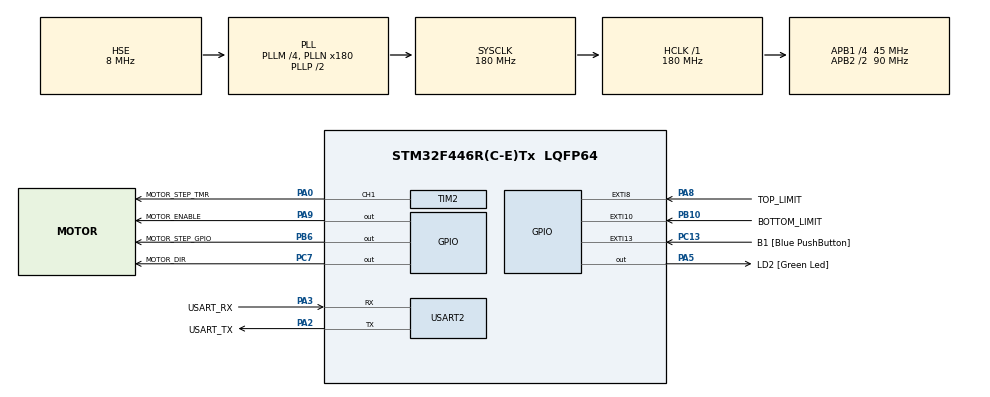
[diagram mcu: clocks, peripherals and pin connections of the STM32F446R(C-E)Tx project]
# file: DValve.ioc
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FREERTOS.Tasks01=defaultTask,24,128,StartDefaultTask,Default,NULL,Dynamic,NULL,NULL
Mcu.Family=STM32F4
Mcu.Name=STM32F446R(C-E)Tx
Mcu.Package=LQFP64
NVIC.PriorityGroup=NVIC_PRIORITYGROUP_4
NVIC.TIM6_DAC_IRQn=true\:15\:0\:false\:false\:true\:false\:false\:true\:true
NVIC.TimeBase=TIM6_DAC_IRQn
NVIC.TimeBaseIP=TIM6
PA0-WKUP.GPIO_Label=MOTOR_STEP_TMR
PA0-WKUP.Signal=S_TIM2_CH1_ETR
PA13.GPIO_Label=TMS
PA13.Mode=Serial_Wire
PA13.Signal=SYS_JTMS-SWDIO
PA14.GPIO_Label=TCK
PA14.Mode=Serial_Wire
PA14.Signal=SYS_JTCK-SWCLK
PA2.GPIO_Label=USART_TX
PA2.Mode=Asynchronous
PA2.Signal=USART2_TX
PA3.GPIO_Label=USART_RX
PA3.Mode=Asynchronous
PA3.Signal=USART2_RX
PA5.GPIO_Label=LD2 [Green Led]
PA5.Signal=GPIO_Output
PA8.GPIO_Label=TOP_LIMIT
PA8.Signal=GPXTI8
PA9.GPIO_Label=MOTOR_ENABLE
PA9.Signal=GPIO_Output
PB10.GPIO_Label=BOTTOM_LIMIT
PB10.Signal=GPXTI10
PB3.GPIO_Label=SWO
PB3.Signal=SYS_JTDO-SWO
PB6.GPIO_Label=MOTOR_STEP_GPIO
PB6.Signal=GPIO_Output
PC13.GPIO_Label=B1 [Blue PushButton]
PC13.GPIO_ModeDefaultEXTI=GPIO_MODE_IT_FALLING
PC13.Signal=GPXTI13
PC14-OSC32_IN.Signal=RCC_OSC32_IN
PC15-OSC32_OUT.Signal=RCC_OSC32_OUT
PC7.GPIO_Label=MOTOR_DIR
PC7.Signal=GPIO_Output
PH0-OSC_IN.Mode=HSE-External-Oscillator
PH0-OSC_IN.Signal=RCC_OSC_IN
PH1-OSC_OUT.Mode=HSE-External-Oscillator
PH1-OSC_OUT.Signal=RCC_OSC_OUT
ProjectManager.HeapSize=0x200
ProjectManager.StackSize=0x400
ProjectManager.TargetToolchain=CMake
RCC.AHBFreq_Value=180000000
RCC.APB1CLKDivider=RCC_HCLK_DIV4
RCC.APB1Freq_Value=45000000
RCC.APB1TimFreq_Value=90000000
RCC.APB2CLKDivider=RCC_HCLK_DIV2
RCC.APB2Freq_Value=90000000
RCC.APB2TimFreq_Value=180000000
RCC.CortexFreq_Value=180000000
RCC.FLatency-AdvancedSettings=FLASH_LATENCY_5
RCC.HCLKFreq_Value=180000000
RCC.HSE_VALUE=8000000
RCC.HSI_VALUE=16000000
RCC.LSE_VALUE=32768
RCC.PLLM=4
RCC.PLLN=180
RCC.PLLSourceVirtual=RCC_PLLSOURCE_HSE
RCC.SYSCLKFreq_VALUE=180000000
RCC.SYSCLKSource=RCC_SYSCLKSOURCE_PLLCLK
RCC.USBFreq_Value=180000000
RCC.VCOOutputFreq_Value=360000000
SH.S_TIM2_CH1_ETR.0=TIM2_CH1,PWM Generation1 CH1
TIM2.AutoReloadPreload=TIM_AUTORELOAD_PRELOAD_ENABLE
TIM2.Channel-PWM\ Generation1\ CH1=TIM_CHANNEL_1
TIM2.OCMode_PWM-PWM\ Generation1\ CH1=TIM_OCMODE_PWM2
TIM2.Period=10
TIM2.Prescaler=90-1
USART2.VirtualMode=VM_ASYNC
VP_FREERTOS_VS_CMSIS_V2.Mode=CMSIS_V2
VP_SYS_VS_tim6.Mode=TIM6
VP_TIM2_VS_ClockSourceINT.Mode=Internal
board=NUCLEO-F446RE

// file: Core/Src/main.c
/* USER CODE BEGIN Header */
/**
  ******************************************************************************
  * @file           : main.c
  * @brief          : Main progr  /* USER CODE BEGIN RTOS_EVENTS */
  /* Create event flags for limit switch handling */
  limitSwitchEventsHandle = osEventFlagsNew(&limitSwitchEvents_attributes);
  /* USER CODE END RTOS_EVENTS */

  /* Create the thread(s) */
  /* creation of defaultTask */
  defaultTaskHandle = osThreadNew(StartDefaultTask, NULL, &defaultTask_attributes);

  /* USER CODE BEGIN RTOS_THREADS */
  /* creation of limitSwitchTask */
  limitSwitchTaskHandle = osThreadNew(StartLimitSwitchTask, NULL, &limitSwitchTask_attributes);
  /* USER CODE END RTOS_THREADS */******************************************************************************
  * @attention
  *
  * Copyright (c) 2025 STMicroelectronics.
  * All rights reserved.
  *
  * This software is licensed under terms that can be found in the LICENSE file
  * in the root directory of this software component.
  * If no LICENSE file comes with this software, it is provided AS-IS.
  *
  ******************************************************************************
  */
/* USER CODE END Header */
#include "main.h"
#include "cmsis_os.h"

/* USER CODE BEGIN Includes */
#include "isd04_driver.h"

/* USER CODE END Includes */

TIM_HandleTypeDef htim2;

UART_HandleTypeDef huart2;

/* Definitions for defaultTask */
osThreadId_t defaultTaskHandle;
const osThreadAttr_t defaultTask_attributes = {
  .name = "defaultTask",
  .stack_size = 128 * 4,
  .priority = (osPriority_t) osPriorityNormal,
};

/* Definitions for limitSwitchTask */
osThreadId_t limitSwitchTaskHandle;
const osThreadAttr_t limitSwitchTask_attributes = {
  .name = "limitSwitchTask",
  .stack_size = 128 * 4,
  .priority = (osPriority_t) osPriorityHigh,
};

/* Event flags for limit switch events */
osEventFlagsId_t limitSwitchEventsHandle;
const osEventFlagsAttr_t limitSwitchEvents_attributes = {
  .name = "limitSwitchEvents"
};

#define TOP_LIMIT_EVENT    (1UL << 0)
#define BOTTOM_LIMIT_EVENT (1UL << 1)

void SystemClock_Config(void);
static void MX_GPIO_Init(void);
static void MX_TIM2_Init(void);
static void MX_USART2_UART_Init(void);
void StartDefaultTask(void *argument);
void StartLimitSwitchTask(void *argument);

int main(void)
{

  /* MCU Configuration--------------------------------------------------------*/

  /* Reset of all peripherals, Initializes the Flash interface and the Systick. */
  HAL_Init();

  /* Configure the system clock */
  SystemClock_Config();

  /* Initialize all configured peripherals */
  MX_GPIO_Init();
  MX_TIM2_Init();
  MX_USART2_UART_Init();
  /* USER CODE BEGIN 2 */

  // Initialize the ISD04 motor driver
  Isd04Config driver_config;
  isd04_driver_get_default_config(&driver_config);

  // Configure the driver settings
  driver_config.pwm_frequency_hz = 1000;  // 1kHz step frequency
  driver_config.max_speed = 20;         // Max 20 steps/sec
  driver_config.microstep = ISD04_MICROSTEP_200;  // 200 steps/rev
  driver_config.phase_current_ma = 2800;  // 2.8A phase current

  // Define hardware pins (based on your STM32 CubeMX configuration)
  // Step pin is not needed when using timer control
  Isd04Hardware driver_hw;
  driver_hw.dir_port = MOTOR_DIR_GPIO_Port;
  driver_hw.dir_pin = MOTOR_DIR_Pin;
  driver_hw.ena_port = MOTOR_ENABLE_GPIO_Port;
  driver_hw.ena_pin = MOTOR_ENABLE_Pin;

  // Get the singleton driver instance and initialize it
  Isd04Driver *motor_driver = isd04_driver_get_instance();
  if (motor_driver != NULL) {
    isd04_driver_init(motor_driver, &driver_config, &driver_hw);

    // Bind the timer for step pulse generation (using TIM2)
    isd04_driver_bind_step_timer(motor_driver, &htim2);

    // Enable the motor driver
    isd04_driver_enable(motor_driver, true);

    // Set initial direction (forward)
    isd04_driver_set_direction(motor_driver, true);

    // Set speed to 500 steps/sec
    isd04_driver_set_speed(motor_driver, 500);
  }

  /* USER CODE END 2 */

  /* Init scheduler */
  osKernelInitialize();

  /* Create the thread(s) */
  /* creation of defaultTask */
  defaultTaskHandle = osThreadNew(StartDefaultTask, NULL, &defaultTask_attributes);

  /* Start scheduler */
  osKernelStart();

  /* We should never get here as control is now taken by the scheduler */

  /* Infinite loop */
  while (1)
  {

  }
}

void SystemClock_Config(void)
{
  RCC_OscInitTypeDef RCC_OscInitStruct = {0};
  RCC_ClkInitTypeDef RCC_ClkInitStruct = {0};

  /** Configure the main internal regulator output voltage
  */
  __HAL_RCC_PWR_CLK_ENABLE();
  __HAL_PWR_VOLTAGESCALING_CONFIG(PWR_REGULATOR_VOLTAGE_SCALE1);

  /** Initializes the RCC Oscillators according to the specified parameters
  * in the RCC_OscInitTypeDef structure.
  */
  RCC_OscInitStruct.OscillatorType = RCC_OSCILLATORTYPE_HSE;
  RCC_OscInitStruct.HSEState = RCC_HSE_ON;
  RCC_OscInitStruct.PLL.PLLState = RCC_PLL_ON;
  RCC_OscInitStruct.PLL.PLLSource = RCC_PLLSOURCE_HSE;
  RCC_OscInitStruct.PLL.PLLM = 4;
  RCC_OscInitStruct.PLL.PLLN = 180;
  RCC_OscInitStruct.PLL.PLLP = RCC_PLLP_DIV2;
  RCC_OscInitStruct.PLL.PLLQ = 2;
  RCC_OscInitStruct.PLL.PLLR = 2;
  if (HAL_RCC_OscConfig(&RCC_OscInitStruct) != HAL_OK)
  {
    Error_Handler();
  }

  /** Activate the Over-Drive mode
  */
  if (HAL_PWREx_EnableOverDrive() != HAL_OK)
  {
    Error_Handler();
  }

  /** Initializes the CPU, AHB and APB buses clocks
  */
  RCC_ClkInitStruct.ClockType = RCC_CLOCKTYPE_HCLK|RCC_CLOCKTYPE_SYSCLK
                              |RCC_CLOCKTYPE_PCLK1|RCC_CLOCKTYPE_PCLK2;
  RCC_ClkInitStruct.SYSCLKSource = RCC_SYSCLKSOURCE_PLLCLK;
  RCC_ClkInitStruct.AHBCLKDivider = RCC_SYSCLK_DIV1;
  RCC_ClkInitStruct.APB1CLKDivider = RCC_HCLK_DIV4;
  RCC_ClkInitStruct.APB2CLKDivider = RCC_HCLK_DIV2;

  if (HAL_RCC_ClockConfig(&RCC_ClkInitStruct, FLASH_LATENCY_5) != HAL_OK)
  {
    Error_Handler();
  }
}

static void MX_TIM2_Init(void)
{

  TIM_ClockConfigTypeDef sClockSourceConfig = {0};
  TIM_MasterConfigTypeDef sMasterConfig = {0};
  TIM_OC_InitTypeDef sConfigOC = {0};

  htim2.Instance = TIM2;
  htim2.Init.Prescaler = 90-1;
  htim2.Init.CounterMode = TIM_COUNTERMODE_UP;
  htim2.Init.Period = 10;
  htim2.Init.ClockDivision = TIM_CLOCKDIVISION_DIV1;
  htim2.Init.AutoReloadPreload = TIM_AUTORELOAD_PRELOAD_ENABLE;
  if (HAL_TIM_Base_Init(&htim2) != HAL_OK)
  {
    Error_Handler();
  }
  sClockSourceConfig.ClockSource = TIM_CLOCKSOURCE_INTERNAL;
  if (HAL_TIM_ConfigClockSource(&htim2, &sClockSourceConfig) != HAL_OK)
  {
    Error_Handler();
  }
  if (HAL_TIM_PWM_Init(&htim2) != HAL_OK)
  {
    Error_Handler();
  }
  sMasterConfig.MasterOutputTrigger = TIM_TRGO_RESET;
  sMasterConfig.MasterSlaveMode = TIM_MASTERSLAVEMODE_DISABLE;
  if (HAL_TIMEx_MasterConfigSynchronization(&htim2, &sMasterConfig) != HAL_OK)
  {
    Error_Handler();
  }
  sConfigOC.OCMode = TIM_OCMODE_PWM2;
  sConfigOC.Pulse = 0;
  sConfigOC.OCPolarity = TIM_OCPOLARITY_HIGH;
  sConfigOC.OCFastMode = TIM_OCFAST_DISABLE;
  if (HAL_TIM_PWM_ConfigChannel(&htim2, &sConfigOC, TIM_CHANNEL_1) != HAL_OK)
  {
    Error_Handler();
  }
  /* USER CODE BEGIN TIM2_Init 2 */

  // Configure TIM2 for one-pulse mode step generation
  // This will generate a single pulse each time HAL_TIM_Base_Start is called
  if (HAL_TIM_OnePulse_Init(&htim2, TIM_OPMODE_SINGLE) != HAL_OK)
  {
    Error_Handler();
  }

  // Set pulse width for step signal (adjust as needed for your stepper driver)
  sConfigOC.Pulse = 5; // Pulse width = 5 timer counts
  if (HAL_TIM_PWM_ConfigChannel(&htim2, &sConfigOC, TIM_CHANNEL_1) != HAL_OK)
  {
    Error_Handler();
  }

  /* USER CODE END TIM2_Init 2 */
  HAL_TIM_MspPostInit(&htim2);

}

static void MX_USART2_UART_Init(void)
{

  huart2.Instance = USART2;
  huart2.Init.BaudRate = 115200;
  huart2.Init.WordLength = UART_WORDLENGTH_8B;
  huart2.Init.StopBits = UART_STOPBITS_1;
  huart2.Init.Parity = UART_PARITY_NONE;
  huart2.Init.Mode = UART_MODE_TX_RX;
  huart2.Init.HwFlowCtl = UART_HWCONTROL_NONE;
  huart2.Init.OverSampling = UART_OVERSAMPLING_16;
  if (HAL_UART_Init(&huart2) != HAL_OK)
  {
    Error_Handler();
  }

}

static void MX_GPIO_Init(void)
{
  GPIO_InitTypeDef GPIO_InitStruct = {0};

  /* GPIO Ports Clock Enable */
  __HAL_RCC_GPIOC_CLK_ENABLE();
  __HAL_RCC_GPIOH_CLK_ENABLE();
  __HAL_RCC_GPIOA_CLK_ENABLE();
  __HAL_RCC_GPIOB_CLK_ENABLE();

  /*Configure GPIO pin Output Level */
  HAL_GPIO_WritePin(GPIOA, LD2_Pin|MOTOR_ENABLE_Pin, GPIO_PIN_RESET);

  /*Configure GPIO pin Output Level */
  HAL_GPIO_WritePin(MOTOR_DIR_GPIO_Port, MOTOR_DIR_Pin, GPIO_PIN_RESET);

  /*Configure GPIO pin Output Level */
  HAL_GPIO_WritePin(MOTOR_STEP_GPIO_GPIO_Port, MOTOR_STEP_GPIO_Pin, GPIO_PIN_RESET);

  /*Configure GPIO pin : B1_Pin */
  GPIO_InitStruct.Pin = B1_Pin;
  GPIO_InitStruct.Mode = GPIO_MODE_IT_FALLING;
  GPIO_InitStruct.Pull = GPIO_NOPULL;
  HAL_GPIO_Init(B1_GPIO_Port, &GPIO_InitStruct);

  /*Configure GPIO pins : LD2_Pin MOTOR_ENABLE_Pin */
  GPIO_InitStruct.Pin = LD2_Pin|MOTOR_ENABLE_Pin;
  GPIO_InitStruct.Mode = GPIO_MODE_OUTPUT_PP;
  GPIO_InitStruct.Pull = GPIO_NOPULL;
  GPIO_InitStruct.Speed = GPIO_SPEED_FREQ_LOW;
  HAL_GPIO_Init(GPIOA, &GPIO_InitStruct);

  /*Configure GPIO pin : BOTTOM_LIMIT_Pin */
  GPIO_InitStruct.Pin = BOTTOM_LIMIT_Pin;
  GPIO_InitStruct.Mode = GPIO_MODE_IT_FALLING;
  GPIO_InitStruct.Pull = GPIO_PULLUP;
  HAL_GPIO_Init(BOTTOM_LIMIT_GPIO_Port, &GPIO_InitStruct);

  /*Configure GPIO pin : MOTOR_DIR_Pin */
  GPIO_InitStruct.Pin = MOTOR_DIR_Pin;
  GPIO_InitStruct.Mode = GPIO_MODE_OUTPUT_PP;
  GPIO_InitStruct.Pull = GPIO_NOPULL;
  GPIO_InitStruct.Speed = GPIO_SPEED_FREQ_LOW;
  HAL_GPIO_Init(MOTOR_DIR_GPIO_Port, &GPIO_InitStruct);

  /*Configure GPIO pin : TOP_LIMIT_Pin */
  GPIO_InitStruct.Pin = TOP_LIMIT_Pin;
  GPIO_InitStruct.Mode = GPIO_MODE_IT_FALLING;
  GPIO_InitStruct.Pull = GPIO_PULLUP;
  HAL_GPIO_Init(TOP_LIMIT_GPIO_Port, &GPIO_InitStruct);

  /*Configure GPIO pin : MOTOR_STEP_GPIO_Pin */
  GPIO_InitStruct.Pin = MOTOR_STEP_GPIO_Pin;
  GPIO_InitStruct.Mode = GPIO_MODE_OUTPUT_PP;
  GPIO_InitStruct.Pull = GPIO_NOPULL;
  GPIO_InitStruct.Speed = GPIO_SPEED_FREQ_LOW;
  HAL_GPIO_Init(MOTOR_STEP_GPIO_GPIO_Port, &GPIO_InitStruct);

}

void StartDefaultTask(void *argument)
{
  /* USER CODE BEGIN 5 */

  // Get the motor driver instance
  Isd04Driver *motor_driver = isd04_driver_get_instance();

  // Calculate steps for full valve range (assume 8 turns average)
  const int STEPS_PER_TURN = 200;  // 200 steps/rev microstep setting
  const int TOTAL_TURNS = 8;       // Full valve range
  const int TOTAL_STEPS = STEPS_PER_TURN * TOTAL_TURNS;  // 1600 steps total

  /* Infinite loop */
  for(;;)
  {
    if (motor_driver != NULL) {
      // Open valve sequence (move forward)
      isd04_driver_start(motor_driver);
      isd04_driver_set_direction(motor_driver, true);  // Forward = open

      // Generate steps to fully open valve
      for (int i = 0; i < TOTAL_STEPS; i++) {
        isd04_driver_pulse(motor_driver);
        osDelay(50); // Wait 50ms between steps (20 steps/sec for smooth operation)
      }

      // Stop and wait
      isd04_driver_stop(motor_driver);
      osDelay(3000); // Wait 3 seconds at full open

      // Close valve sequence (move reverse)
      isd04_driver_start(motor_driver);
      isd04_driver_set_direction(motor_driver, false); // Reverse = close

      // Generate steps to fully close valve
      for (int i = 0; i < TOTAL_STEPS; i++) {
        isd04_driver_pulse(motor_driver);
        osDelay(50); // Wait 50ms between steps (20 steps/sec for smooth operation)
      }

      // Stop and wait
      isd04_driver_stop(motor_driver);
      osDelay(3000); // Wait 3 seconds at full close

    } else {
      osDelay(1000);
    }
  }
  /* USER CODE END 5 */
}

void HAL_TIM_PeriodElapsedCallback(TIM_HandleTypeDef *htim)
{
  if (htim->Instance == TIM6)
  {
    HAL_IncTick();
  }
}

void Error_Handler(void)
{
  __disable_irq();
  while (1)
  {
  }
}
